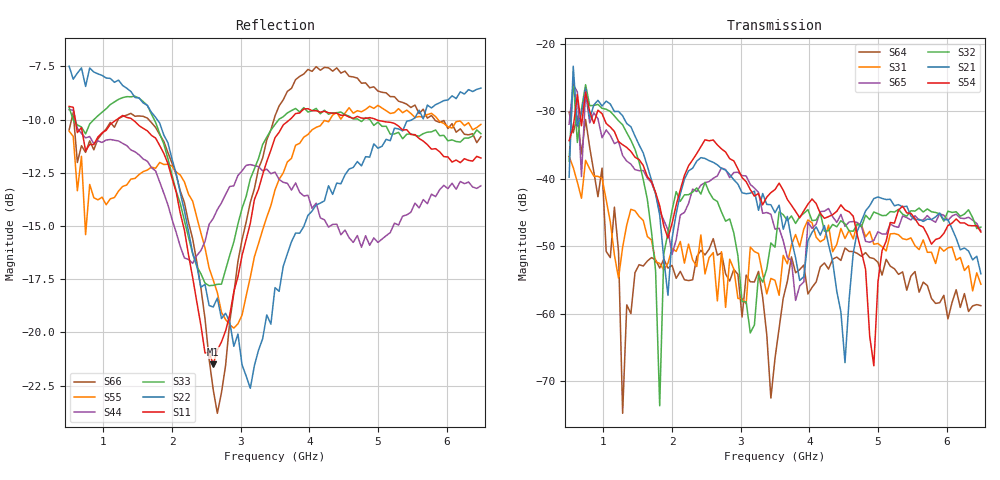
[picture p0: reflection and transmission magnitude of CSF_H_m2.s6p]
!Keysight Technologies,M9804A,MY58100912,A.14.10.03
!Date: Thursday, April 27, 2023 10:28:33
!Correction: S11(C  6-Port  )
!S12(C  6-Port  )
!S13(C  6-Port  )
!S14(C  6-Port  )
!S15(C  6-Port  )
!S16(C  6-Port  )
!S21(C  6-Port  )
!S22(C  6-Port  )
!S23(C  6-Port  )
!S24(C  6-Port  )
!S25(C  6-Port  )
!S26(C  6-Port  )
!S31(C  6-Port  )
!S32(C  6-Port  )
!S33(C  6-Port  )
!S34(C  6-Port  )
!S35(C  6-Port  )
!S36(C  6-Port  )
!S41(C  6-Port  )
!S42(C  6-Port  )
!S43(C  6-Port  )
!S44(C  6-Port  )
!S45(C  6-Port  )
!S46(C  6-Port  )
!S51(C  6-Port  )
!S52(C  6-Port  )
!S53(C  6-Port  )
!S54(C  6-Port  )
!S55(C  6-Port  )
!S56(C  6-Port  )
!S61(C  6-Port  )
!S62(C  6-Port  )
!S63(C  6-Port  )
!S64(C  6-Port  )
!S65(C  6-Port  )
!S66(C  6-Port  )
!S6P File: Measurement: :
# Hz S  RI  R 50
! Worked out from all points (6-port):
!   101 points, 500 MHz to 6.5 GHz, reference 50 ohm
!   strongest paths, dB at 500 MHz, 2 GHz, 3.5 GHz, 5 GHz, 6.5 GHz:
!     S54: -34.3, -46.6, -41.6, -55.3, -47.9
!     S21: -39.8, -48.8, -45.0, -42.7, -54.1
!     S32: -37.4, -44.7, -50.2, -45.2, -47.2
!     S65: -31.9, -51.2, -47.5, -47.9, -47.7
!     S31: -36.7, -50.4, -55.1, -49.6, -55.6
!     S64: -30.1, -52.8, -66.6, -52.4, -58.8
!   lowest |S11| = -21.5 dB at 2.6 GHz (marker M1), VSWR 1.18, Z = 42.5 + j2.19 ohm
!   |S11| at or under -10 dB: 589.4 MHz to 1.193 GHz (603.2 MHz wide, 67.7 % of centre); 1.425 GHz to 3.714 GHz (2.289 GHz wide, 89.1 % of centre); 4.976 GHz to end of sweep
